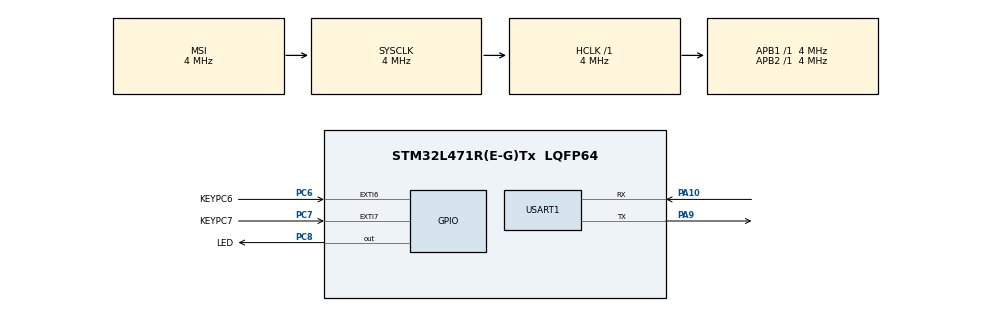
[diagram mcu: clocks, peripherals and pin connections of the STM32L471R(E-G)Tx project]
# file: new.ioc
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Mcu.Family=STM32L4
Mcu.Name=STM32L471R(E-G)Tx
Mcu.Package=LQFP64
NVIC.EXTI9_5_IRQn=true\:1\:0\:true\:false\:true\:true
NVIC.PriorityGroup=NVIC_PRIORITYGROUP_4
NVIC.USART1_IRQn=true\:0\:0\:false\:false\:true\:true
PA10.Mode=Asynchronous
PA10.Signal=USART1_RX
PA13\ (JTMS-SWDIO).Mode=Serial_Wire
PA13\ (JTMS-SWDIO).Signal=SYS_JTMS-SWDIO
PA14\ (JTCK-SWCLK).Mode=Serial_Wire
PA14\ (JTCK-SWCLK).Signal=SYS_JTCK-SWCLK
PA9.Mode=Asynchronous
PA9.Signal=USART1_TX
PC6.GPIO_Label=KEYPC6
PC6.GPIO_ModeDefaultEXTI=GPIO_MODE_IT_FALLING
PC6.GPIO_PuPd=GPIO_PULLUP
PC6.Signal=GPXTI6
PC7.GPIO_Label=KEYPC7
PC7.GPIO_ModeDefaultEXTI=GPIO_MODE_IT_FALLING
PC7.GPIO_PuPd=GPIO_PULLUP
PC7.Signal=GPXTI7
PC8.GPIO_Label=LED
PC8.Signal=GPIO_Output
PH0-OSC_IN\ (PH0).Mode=HSE-External-Oscillator
PH0-OSC_IN\ (PH0).Signal=RCC_OSC_IN
PH1-OSC_OUT\ (PH1).Mode=HSE-External-Oscillator
PH1-OSC_OUT\ (PH1).Signal=RCC_OSC_OUT
ProjectManager.HeapSize=0x200
ProjectManager.StackSize=0x400
ProjectManager.TargetToolchain=MDK-ARM V5
RCC.ADCFreq_Value=64000000
RCC.AHBFreq_Value=4000000
RCC.APB1Freq_Value=4000000
RCC.APB1TimFreq_Value=4000000
RCC.APB2Freq_Value=4000000
RCC.APB2TimFreq_Value=4000000
RCC.CortexFreq_Value=4000000
RCC.HCLKFreq_Value=4000000
RCC.HSE_VALUE=8000000
RCC.HSI_VALUE=16000000
RCC.LSE_VALUE=32768
RCC.MSI_VALUE=4000000
RCC.PLLSourceVirtual=RCC_PLLSOURCE_HSI
RCC.SYSCLKFreq_VALUE=4000000
RCC.VCOOutputFreq_Value=128000000
USART1.VirtualMode-Asynchronous=VM_ASYNC
board=custom

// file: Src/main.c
/* USER CODE BEGIN Header */
/**
  ******************************************************************************
  * @file           : main.c
  * @brief          : Main program body
  ******************************************************************************
  ** This notice applies to any and all portions of this file
  * that are not between comment pairs USER CODE BEGIN and
  * USER CODE END. Other portions of this file, whether
  * inserted by the user or by software development tools
  * are owned by their respective copyright owners.
  *
  * COPYRIGHT(c) 2019 STMicroelectronics
  *
  * Redistribution and use in source and binary forms, with or without modification,
  * are permitted provided that the following conditions are met:
  *   1. Redistributions of source code must retain the above copyright notice,
  *      this list of conditions and the following disclaimer.
  *   2. Redistributions in binary form must reproduce the above copyright notice,
  *      this list of conditions and the following disclaimer in the documentation
  *      and/or other materials provided with the distribution.
  *   3. Neither the name of STMicroelectronics nor the names of its contributors
  *      may be used to endorse or promote products derived from this software
  *      without specific prior written permission.
  *
  * THIS SOFTWARE IS PROVIDED BY THE COPYRIGHT HOLDERS AND CONTRIBUTORS "AS IS"
  * AND ANY EXPRESS OR IMPLIED WARRANTIES, INCLUDING, BUT NOT LIMITED TO, THE
  * IMPLIED WARRANTIES OF MERCHANTABILITY AND FITNESS FOR A PARTICULAR PURPOSE ARE
  * DISCLAIMED. IN NO EVENT SHALL THE COPYRIGHT HOLDER OR CONTRIBUTORS BE LIABLE
  * FOR ANY DIRECT, INDIRECT, INCIDENTAL, SPECIAL, EXEMPLARY, OR CONSEQUENTIAL
  * DAMAGES (INCLUDING, BUT NOT LIMITED TO, PROCUREMENT OF SUBSTITUTE GOODS OR
  * SERVICES; LOSS OF USE, DATA, OR PROFITS; OR BUSINESS INTERRUPTION) HOWEVER
  * CAUSED AND ON ANY THEORY OF LIABILITY, WHETHER IN CONTRACT, STRICT LIABILITY,
  * OR TORT (INCLUDING NEGLIGENCE OR OTHERWISE) ARISING IN ANY WAY OUT OF THE USE
  * OF THIS SOFTWARE, EVEN IF ADVISED OF THE POSSIBILITY OF SUCH DAMAGE.
  *
  ******************************************************************************
  */
/* USER CODE END Header */

#include "main.h"
#include "usart.h"
#include "gpio.h"

void SystemClock_Config(void);
/* USER CODE BEGIN PFP */
void printf_xin( void )
{

	float x,y,z,f;
	for(y=1.5f;y>-1.5f;y-=0.1f)
	{
		for(x=-1.5f;x<1.5f;x+=0.05f)
		{
			z=x*x+y*y-1;
			f=z*z*z-x*x*y*y*y;
			putchar( f<=0.0f ? ".:-=*#%@"[(int)(f*-8.0f)]:' ');
		}
		putchar('\r');
		putchar('\n');
	}

}
/* USER CODE END PFP */

/* USER CODE BEGIN 0 */
void HAL_GPIO_EXTI_Callback(uint16_t GPIO_Pin)
{
	printf("1#GPIO_Pin=%08x\r\n",GPIO_Pin);
 HAL_GPIO_TogglePin(BEEP_GPIO_Port,BEEP_Pin);
  if(GPIO_Pin==KEYPC6_Pin)
	{
				HAL_Delay(2);
				if(HAL_GPIO_ReadPin(KEYPC6_GPIO_Port,KEYPC6_Pin)==0)
				printf("2#KEYPC6_Pin\r\n");

	}
		else  if(GPIO_Pin==KEYPC7_Pin)
	{
				HAL_Delay(2);
				if(HAL_GPIO_ReadPin(KEYPC7_GPIO_Port,KEYPC7_Pin)==0)
				printf("3#KEYPC7_Pin\r\n");

	}
	else printf("ERR COM--");

}
/* USER CODE END 0 */

int main(void)
{

  /* MCU Configuration--------------------------------------------------------*/

  /* Reset of all peripherals, Initializes the Flash interface and the Systick. */
  HAL_Init();

  /* Configure the system clock */
  SystemClock_Config();

  /* Initialize all configured peripherals */
  MX_GPIO_Init();
  MX_USART1_UART_Init();
  /* USER CODE BEGIN 2 */
  printf_xin();
  /* USER CODE END 2 */

  /* Infinite loop */
  /* USER CODE BEGIN WHILE */
  while (1)
  {
		printf("\r\n%s\r\n",__FUNCTION__);
		HAL_Delay(8000);
    /* USER CODE END WHILE */

  }
}

void SystemClock_Config(void)
{
  RCC_OscInitTypeDef RCC_OscInitStruct = {0};
  RCC_ClkInitTypeDef RCC_ClkInitStruct = {0};
  RCC_PeriphCLKInitTypeDef PeriphClkInit = {0};

  /**Initializes the CPU, AHB and APB busses clocks
  */
  RCC_OscInitStruct.OscillatorType = RCC_OSCILLATORTYPE_MSI;
  RCC_OscInitStruct.MSIState = RCC_MSI_ON;
  RCC_OscInitStruct.MSICalibrationValue = 0;
  RCC_OscInitStruct.MSIClockRange = RCC_MSIRANGE_6;
  RCC_OscInitStruct.PLL.PLLState = RCC_PLL_NONE;
  if (HAL_RCC_OscConfig(&RCC_OscInitStruct) != HAL_OK)
  {
    Error_Handler();
  }
  /**Initializes the CPU, AHB and APB busses clocks
  */
  RCC_ClkInitStruct.ClockType = RCC_CLOCKTYPE_HCLK|RCC_CLOCKTYPE_SYSCLK
                              |RCC_CLOCKTYPE_PCLK1|RCC_CLOCKTYPE_PCLK2;
  RCC_ClkInitStruct.SYSCLKSource = RCC_SYSCLKSOURCE_MSI;
  RCC_ClkInitStruct.AHBCLKDivider = RCC_SYSCLK_DIV1;
  RCC_ClkInitStruct.APB1CLKDivider = RCC_HCLK_DIV1;
  RCC_ClkInitStruct.APB2CLKDivider = RCC_HCLK_DIV1;

  if (HAL_RCC_ClockConfig(&RCC_ClkInitStruct, FLASH_LATENCY_0) != HAL_OK)
  {
    Error_Handler();
  }
  PeriphClkInit.PeriphClockSelection = RCC_PERIPHCLK_USART1;
  PeriphClkInit.Usart1ClockSelection = RCC_USART1CLKSOURCE_PCLK2;
  if (HAL_RCCEx_PeriphCLKConfig(&PeriphClkInit) != HAL_OK)
  {
    Error_Handler();
  }
  /**Configure the main internal regulator output voltage
  */
  if (HAL_PWREx_ControlVoltageScaling(PWR_REGULATOR_VOLTAGE_SCALE1) != HAL_OK)
  {
    Error_Handler();
  }
}

void Error_Handler(void)
{
}

/************************ (C) COPYRIGHT STMicroelectronics *****END OF FILE****/
